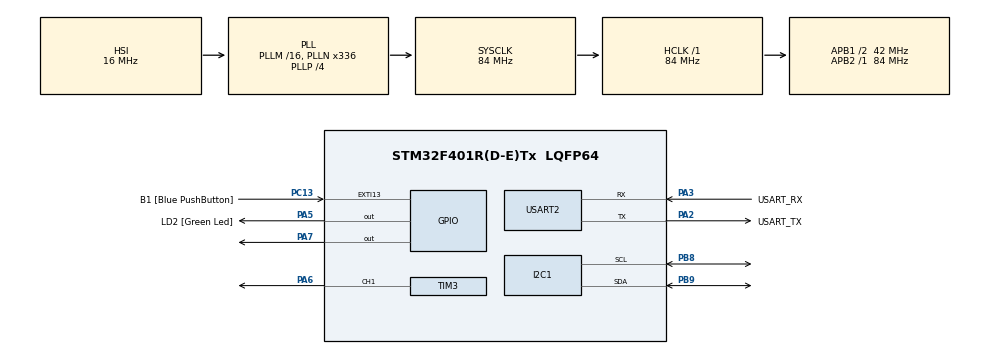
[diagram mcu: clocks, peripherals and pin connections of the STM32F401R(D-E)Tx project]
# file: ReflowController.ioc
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Mcu.Family=STM32F4
Mcu.Name=STM32F401R(D-E)Tx
Mcu.Package=LQFP64
NVIC.PriorityGroup=NVIC_PRIORITYGROUP_0
NVIC.TIM1_UP_TIM10_IRQn=true\:0\:0\:false\:false\:true\:true\:true
PA13.GPIO_Label=TMS
PA13.Mode=Serial_Wire
PA13.Signal=SYS_JTMS-SWDIO
PA14.GPIO_Label=TCK
PA14.Mode=Serial_Wire
PA14.Signal=SYS_JTCK-SWCLK
PA2.GPIO_Label=USART_TX
PA2.GPIO_Mode=GPIO_MODE_AF_PP
PA2.GPIO_PuPd=GPIO_NOPULL
PA2.GPIO_Speed=GPIO_SPEED_FREQ_LOW
PA2.Mode=Asynchronous
PA2.Signal=USART2_TX
PA3.GPIO_Label=USART_RX
PA3.GPIO_Mode=GPIO_MODE_AF_PP
PA3.GPIO_PuPd=GPIO_NOPULL
PA3.GPIO_Speed=GPIO_SPEED_FREQ_LOW
PA3.Mode=Asynchronous
PA3.Signal=USART2_RX
PA5.GPIO_Label=LD2 [Green Led]
PA5.GPIO_Mode=GPIO_MODE_OUTPUT_PP
PA5.GPIO_PuPd=GPIO_NOPULL
PA5.GPIO_Speed=GPIO_SPEED_FREQ_LOW
PA5.Signal=GPIO_Output
PA6.GPIO_PuPd=GPIO_PULLDOWN
PA6.Signal=S_TIM3_CH1
PA7.Signal=GPIO_Output
PB3.GPIO_Label=SWO
PB3.Signal=SYS_JTDO-SWO
PB8.Mode=I2C
PB8.Signal=I2C1_SCL
PB9.Mode=I2C
PB9.Signal=I2C1_SDA
PC13-ANTI_TAMP.GPIO_Label=B1 [Blue PushButton]
PC13-ANTI_TAMP.GPIO_ModeDefaultEXTI=GPIO_MODE_IT_FALLING
PC13-ANTI_TAMP.GPIO_PuPd=GPIO_NOPULL
PC13-ANTI_TAMP.Signal=GPXTI13
PC14-OSC32_IN.Mode=LSE-External-Oscillator
PC14-OSC32_IN.Signal=RCC_OSC32_IN
PC15-OSC32_OUT.Mode=LSE-External-Oscillator
PC15-OSC32_OUT.Signal=RCC_OSC32_OUT
PH0\ -\ OSC_IN.Mode=HSE-External-Clock-Source
PH0\ -\ OSC_IN.Signal=RCC_OSC_IN
PH1\ -\ OSC_OUT.Mode=HSE-External-Clock-Source
PH1\ -\ OSC_OUT.Signal=RCC_OSC_OUT
ProjectManager.HeapSize=0x200
ProjectManager.StackSize=0x400
ProjectManager.TargetToolchain=STM32CubeIDE
RCC.48MHZClocksFreq_Value=48000000
RCC.AHBFreq_Value=84000000
RCC.APB1CLKDivider=RCC_HCLK_DIV2
RCC.APB1Freq_Value=42000000
RCC.APB1TimFreq_Value=84000000
RCC.APB2Freq_Value=84000000
RCC.APB2TimFreq_Value=84000000
RCC.CortexFreq_Value=84000000
RCC.HCLKFreq_Value=84000000
RCC.HSE_VALUE=8000000
RCC.HSI_VALUE=16000000
RCC.PLLN=336
RCC.PLLP=RCC_PLLP_DIV4
RCC.PLLQ=7
RCC.SYSCLKFreq_VALUE=84000000
RCC.SYSCLKSource=RCC_SYSCLKSOURCE_PLLCLK
RCC.VCOOutputFreq_Value=336000000
SH.S_TIM3_CH1.0=TIM3_CH1,PWM Generation1 CH1
TIM1.Period=128
TIM1.Prescaler=65535
TIM3.Channel-PWM\ Generation1\ CH1=TIM_CHANNEL_1
TIM3.Period=50
TIM3.Prescaler=65535
TIM3.Pulse-PWM\ Generation1\ CH1=25
USART2.VirtualMode=VM_ASYNC
VP_TIM1_VS_ClockSourceINT.Mode=Internal
board=NUCLEO-F401RE

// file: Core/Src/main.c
/* USER CODE BEGIN Header */
/* USER CODE END Header */
#include "main.h"

/* USER CODE BEGIN Includes */
#include <string.h>
#include <stdio.h>
#include "Thermocouple.h"
/* USER CODE END Includes */

I2C_HandleTypeDef hi2c1;

TIM_HandleTypeDef htim1;
TIM_HandleTypeDef htim3;

UART_HandleTypeDef huart2;

void SystemClock_Config(void);
static void MX_GPIO_Init(void);
static void MX_USART2_UART_Init(void);
static void MX_I2C1_Init(void);
static void MX_TIM3_Init(void);
static void MX_TIM1_Init(void);
/* USER CODE BEGIN PFP */

void Thermocouple_init(SensorType);
float ThermocoupleRead();
/* USER CODE END PFP */

/* USER CODE BEGIN 0 */
volatile float yk;
float rk = 100;
volatile float ek = 0;
volatile float ek1 = 0;
volatile float ek2 = 0;
volatile float uk = 0;
volatile float uk1 = 0;
volatile float uk2 = 0;

/* USER CODE END 0 */

int main(void)
{
  /* USER CODE BEGIN 1 */
	char buffer[100] = "hello world\n\r";

  /* USER CODE END 1 */

  /* MCU Configuration--------------------------------------------------------*/

  /* Reset of all peripherals, Initializes the Flash interface and the Systick. */
  HAL_Init();

  /* Configure the system clock */
  SystemClock_Config();

  /* Initialize all configured peripherals */
  MX_GPIO_Init();
  MX_USART2_UART_Init();
  MX_I2C1_Init();
  MX_TIM3_Init();
  MX_TIM1_Init();
  /* USER CODE BEGIN 2 */
  Thermocouple_init(Type_K);
  HAL_TIM_PWM_Start(&htim3, TIM_CHANNEL_1);
  //HAL_TIM_Base_Start_IT(&htim1);

  /* USER CODE END 2 */

  /* Infinite loop */
  while(1)
  {

    /* USER CODE BEGIN 3 */

	  float temp = ThermocoupleRead();
	  sprintf(buffer,"%f,%f,%d\n\r",temp,rk,TIM3->CCR1);

	  HAL_UART_Transmit(&huart2,(uint8_t *) buffer, strlen(buffer), HAL_MAX_DELAY);
	  //HAL_GPIO_TogglePin(GPIOA, GPIO_PIN_6);
	  HAL_Delay(100);

	  if(HAL_GPIO_ReadPin(B1_GPIO_Port, B1_Pin) == GPIO_PIN_RESET)
		  HAL_TIM_Base_Start_IT(&htim1);
  }

  /* USER CODE END 3 */
}

void SystemClock_Config(void)
{
  RCC_OscInitTypeDef RCC_OscInitStruct = {0};
  RCC_ClkInitTypeDef RCC_ClkInitStruct = {0};

  /** Configure the main internal regulator output voltage
  */
  __HAL_RCC_PWR_CLK_ENABLE();
  __HAL_PWR_VOLTAGESCALING_CONFIG(PWR_REGULATOR_VOLTAGE_SCALE2);
  /** Initializes the RCC Oscillators according to the specified parameters
  * in the RCC_OscInitTypeDef structure.
  */
  RCC_OscInitStruct.OscillatorType = RCC_OSCILLATORTYPE_HSI;
  RCC_OscInitStruct.HSIState = RCC_HSI_ON;
  RCC_OscInitStruct.HSICalibrationValue = RCC_HSICALIBRATION_DEFAULT;
  RCC_OscInitStruct.PLL.PLLState = RCC_PLL_ON;
  RCC_OscInitStruct.PLL.PLLSource = RCC_PLLSOURCE_HSI;
  RCC_OscInitStruct.PLL.PLLM = 16;
  RCC_OscInitStruct.PLL.PLLN = 336;
  RCC_OscInitStruct.PLL.PLLP = RCC_PLLP_DIV4;
  RCC_OscInitStruct.PLL.PLLQ = 7;
  if (HAL_RCC_OscConfig(&RCC_OscInitStruct) != HAL_OK)
  {
    Error_Handler();
  }
  /** Initializes the CPU, AHB and APB buses clocks
  */
  RCC_ClkInitStruct.ClockType = RCC_CLOCKTYPE_HCLK|RCC_CLOCKTYPE_SYSCLK
                              |RCC_CLOCKTYPE_PCLK1|RCC_CLOCKTYPE_PCLK2;
  RCC_ClkInitStruct.SYSCLKSource = RCC_SYSCLKSOURCE_PLLCLK;
  RCC_ClkInitStruct.AHBCLKDivider = RCC_SYSCLK_DIV1;
  RCC_ClkInitStruct.APB1CLKDivider = RCC_HCLK_DIV2;
  RCC_ClkInitStruct.APB2CLKDivider = RCC_HCLK_DIV1;

  if (HAL_RCC_ClockConfig(&RCC_ClkInitStruct, FLASH_LATENCY_2) != HAL_OK)
  {
    Error_Handler();
  }
}

static void MX_I2C1_Init(void)
{

  hi2c1.Instance = I2C1;
  hi2c1.Init.ClockSpeed = 100000;
  hi2c1.Init.DutyCycle = I2C_DUTYCYCLE_2;
  hi2c1.Init.OwnAddress1 = 0;
  hi2c1.Init.AddressingMode = I2C_ADDRESSINGMODE_7BIT;
  hi2c1.Init.DualAddressMode = I2C_DUALADDRESS_DISABLE;
  hi2c1.Init.OwnAddress2 = 0;
  hi2c1.Init.GeneralCallMode = I2C_GENERALCALL_DISABLE;
  hi2c1.Init.NoStretchMode = I2C_NOSTRETCH_DISABLE;
  if (HAL_I2C_Init(&hi2c1) != HAL_OK)
  {
    Error_Handler();
  }

}

static void MX_TIM1_Init(void)
{

  TIM_ClockConfigTypeDef sClockSourceConfig = {0};
  TIM_MasterConfigTypeDef sMasterConfig = {0};

  htim1.Instance = TIM1;
  htim1.Init.Prescaler = 65535;
  htim1.Init.CounterMode = TIM_COUNTERMODE_UP;
  htim1.Init.Period = 128;
  htim1.Init.ClockDivision = TIM_CLOCKDIVISION_DIV1;
  htim1.Init.RepetitionCounter = 0;
  htim1.Init.AutoReloadPreload = TIM_AUTORELOAD_PRELOAD_DISABLE;
  if (HAL_TIM_Base_Init(&htim1) != HAL_OK)
  {
    Error_Handler();
  }
  sClockSourceConfig.ClockSource = TIM_CLOCKSOURCE_INTERNAL;
  if (HAL_TIM_ConfigClockSource(&htim1, &sClockSourceConfig) != HAL_OK)
  {
    Error_Handler();
  }
  sMasterConfig.MasterOutputTrigger = TIM_TRGO_RESET;
  sMasterConfig.MasterSlaveMode = TIM_MASTERSLAVEMODE_DISABLE;
  if (HAL_TIMEx_MasterConfigSynchronization(&htim1, &sMasterConfig) != HAL_OK)
  {
    Error_Handler();
  }

}

static void MX_TIM3_Init(void)
{

  TIM_MasterConfigTypeDef sMasterConfig = {0};
  TIM_OC_InitTypeDef sConfigOC = {0};

  htim3.Instance = TIM3;
  htim3.Init.Prescaler = 65535;
  htim3.Init.CounterMode = TIM_COUNTERMODE_UP;
  htim3.Init.Period = 50;
  htim3.Init.ClockDivision = TIM_CLOCKDIVISION_DIV1;
  htim3.Init.AutoReloadPreload = TIM_AUTORELOAD_PRELOAD_DISABLE;
  if (HAL_TIM_PWM_Init(&htim3) != HAL_OK)
  {
    Error_Handler();
  }
  sMasterConfig.MasterOutputTrigger = TIM_TRGO_RESET;
  sMasterConfig.MasterSlaveMode = TIM_MASTERSLAVEMODE_DISABLE;
  if (HAL_TIMEx_MasterConfigSynchronization(&htim3, &sMasterConfig) != HAL_OK)
  {
    Error_Handler();
  }
  sConfigOC.OCMode = TIM_OCMODE_PWM1;
  sConfigOC.Pulse = 0;
  sConfigOC.OCPolarity = TIM_OCPOLARITY_HIGH;
  sConfigOC.OCFastMode = TIM_OCFAST_DISABLE;
  if (HAL_TIM_PWM_ConfigChannel(&htim3, &sConfigOC, TIM_CHANNEL_1) != HAL_OK)
  {
    Error_Handler();
  }
  HAL_TIM_MspPostInit(&htim3);

}

static void MX_USART2_UART_Init(void)
{

  huart2.Instance = USART2;
  huart2.Init.BaudRate = 115200;
  huart2.Init.WordLength = UART_WORDLENGTH_8B;
  huart2.Init.StopBits = UART_STOPBITS_1;
  huart2.Init.Parity = UART_PARITY_NONE;
  huart2.Init.Mode = UART_MODE_TX_RX;
  huart2.Init.HwFlowCtl = UART_HWCONTROL_NONE;
  huart2.Init.OverSampling = UART_OVERSAMPLING_16;
  if (HAL_UART_Init(&huart2) != HAL_OK)
  {
    Error_Handler();
  }

}

static void MX_GPIO_Init(void)
{
  GPIO_InitTypeDef GPIO_InitStruct = {0};

  /* GPIO Ports Clock Enable */
  __HAL_RCC_GPIOC_CLK_ENABLE();
  __HAL_RCC_GPIOH_CLK_ENABLE();
  __HAL_RCC_GPIOA_CLK_ENABLE();
  __HAL_RCC_GPIOB_CLK_ENABLE();

  /*Configure GPIO pin Output Level */
  HAL_GPIO_WritePin(GPIOA, LD2_Pin|GPIO_PIN_7, GPIO_PIN_RESET);

  /*Configure GPIO pin : B1_Pin */
  GPIO_InitStruct.Pin = B1_Pin;
  GPIO_InitStruct.Mode = GPIO_MODE_IT_FALLING;
  GPIO_InitStruct.Pull = GPIO_NOPULL;
  HAL_GPIO_Init(B1_GPIO_Port, &GPIO_InitStruct);

  /*Configure GPIO pins : LD2_Pin PA7 */
  GPIO_InitStruct.Pin = LD2_Pin|GPIO_PIN_7;
  GPIO_InitStruct.Mode = GPIO_MODE_OUTPUT_PP;
  GPIO_InitStruct.Pull = GPIO_NOPULL;
  GPIO_InitStruct.Speed = GPIO_SPEED_FREQ_LOW;
  HAL_GPIO_Init(GPIOA, &GPIO_InitStruct);

}

/* USER CODE BEGIN 4 */
void Thermocouple_init(SensorType type)
{
	HAL_I2C_Master_Transmit(&hi2c1, ThermocoupleADDR, (uint8_t *){Reg_TCConfig,type}, 2, HAL_MAX_DELAY);
}
float ThermocoupleRead()
{
	char tempBuffer[2] = {0};
	if(HAL_I2C_Master_Transmit(&hi2c1, ThermocoupleADDR, (uint8_t*){Reg_Th}, 1, HAL_MAX_DELAY)==HAL_OK)
		  	  HAL_I2C_Master_Receive(&hi2c1, ThermocoupleADDR, tempBuffer, 2, HAL_MAX_DELAY);
	float temp = 0;
	if (tempBuffer[0] >> 7 == 1)
	{
		temp = (float)((tempBuffer[0]*16+tempBuffer[1]/16)-4096);
    }
	else
	{
	    temp = (float)(tempBuffer[0]*16+(float)tempBuffer[1]/16.0);
	}

	return temp;
}

void HAL_TIM_PeriodElapsedCallback(TIM_HandleTypeDef* htim)
{
	if(htim == &htim1)
	{
		yk = ThermocoupleRead();
		ek = rk - yk;

		uk = 13.21*ek+uk;

		uint16_t D = uk*50/159.0; // Scaling factor -> Convert °C to %

		if (D >= 50)
		{
			uk = 159;
			D = 50;
		}
		if (D <= 0)
		{
			D = 0;
			uk = 0;
		}

		TIM3->CCR1 = D;

		uk2 = uk1;
		uk1 = uk;

		ek2 = ek1;
		ek1 = ek;

		uk = 10.34*ek2 - 23.38*ek1 + 2*uk1 - uk2;

	}
}
/* USER CODE END 4 */

void Error_Handler(void)
{
}

/************************ (C) COPYRIGHT STMicroelectronics *****END OF FILE****/
